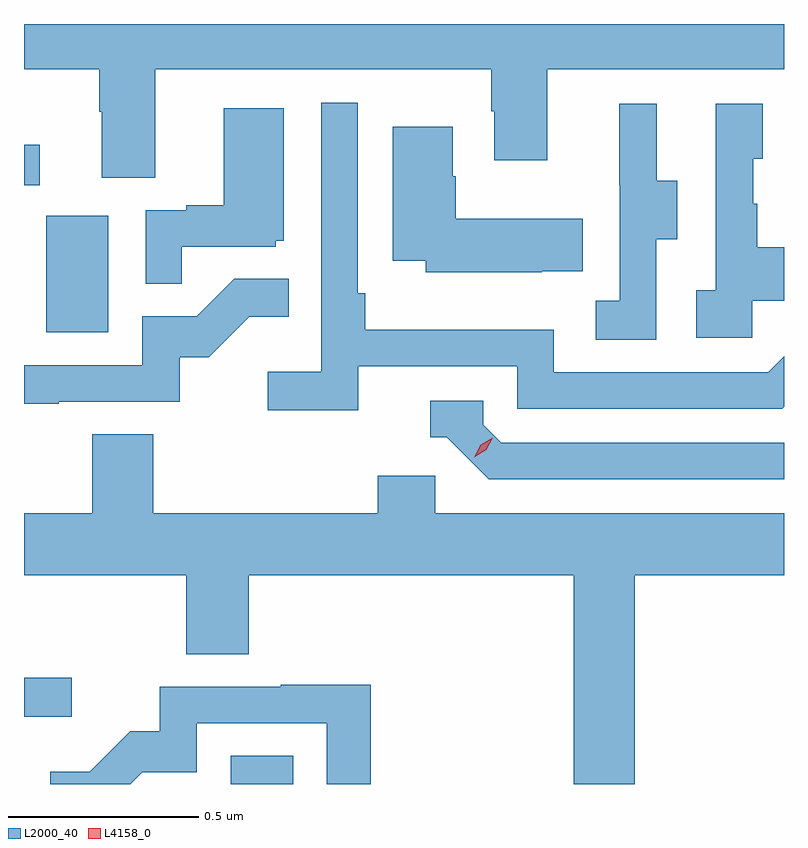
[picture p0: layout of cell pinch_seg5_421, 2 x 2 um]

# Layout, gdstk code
import gdstk
lib = gdstk.Library(unit=1e-6, precision=1e-09)
def R(c, l, rs):  # rectangles x0, y0, x1, y1
    for r in rs: c.add(gdstk.rectangle(r[:2], r[2:], *l))
def P(c, l, *ps):  # polygons
    for p in ps: c.add(gdstk.Polygon(p, *l))
L2000_40 = (2000, 40)
L4158_0 = (4158, 0)

pinch_seg5_421 = lib.new_cell('pinch_seg5_421')
R(pinch_seg5_421, L2000_40, [(998.306,857.543,998.47,857.617), (997.762,857.72,997.888,857.822), (997.82,858.732,997.984,859.039), (997.762,859.119,997.804,859.225)])
P(pinch_seg5_421, L2000_40, [(998.107,859.424),(998.992,859.424),(998.992,859.313),(998.999,859.313),(998.999,859.185),(999.139,859.185),(999.139,859.424),(999.762,859.424),(999.762,859.543),(997.762,859.543),(997.762,859.424),(997.96,859.424),(997.96,859.312),(997.967,859.312),(997.967,859.138),(998.107,859.138)],
  [(998.642,858.642),(999.06,858.642),(999.06,858.531),(999.757,858.531),(999.762,858.536),(999.762,858.669),(999.72,858.627),(999.156,858.627),(999.156,858.739),(998.66,858.739),(998.66,858.835),(998.64,858.835),(998.64,859.336),(998.544,859.336),(998.544,858.628),(998.403,858.628),(998.403,858.526),(998.642,858.526)],
  [(999.426,858.976),(999.481,858.976),(999.481,859.131),(999.427,859.131),(999.427,859.333),(999.329,859.333),(999.329,859.119),(999.33,859.119),(999.33,858.815),(999.267,858.815),(999.267,858.712),(999.426,858.712)],
  [(999.678,858.815),(999.762,858.815),(999.762,858.955),(999.691,858.955),(999.691,859.07),(999.681,859.07),(999.681,859.188),(999.706,859.188),(999.706,859.333),(999.582,859.333),(999.582,858.842),(999.531,858.842),(999.531,858.717),(999.678,858.717)],
  [(998.177,858.957),(998.424,858.957),(998.424,858.972),(998.446,858.972),(998.446,859.321),(998.288,859.321),(998.288,859.066),(998.189,859.066),(998.189,859.053),(998.082,859.053),(998.082,858.859),(998.177,858.859)],
  [(999.125,858.893),(999.233,858.893),(999.233,859.03),(998.898,859.03),(998.898,859.143),(998.89,859.143),(998.89,859.273),(998.732,859.273),(998.732,858.92),(998.819,858.92),(998.819,858.89),(999.125,858.89)],
  [(997.853,858.549),(998.172,858.549),(998.172,858.666),(998.248,858.666),(998.355,858.773),(998.459,858.773),(998.459,858.872),(998.315,858.872),(998.217,858.774),(998.073,858.774),(998.073,858.645),(997.762,858.645),(997.762,858.544),(997.853,858.544)],
  [(999.762,858.441),(999.018,858.441),(998.97,858.489),(998.97,858.552),(998.831,858.552),(998.831,858.456),(998.874,858.456),(998.985,858.345),(999.762,858.345)],
  [(999.369,858.092),(999.762,858.092),(999.762,858.256),(998.844,858.256),(998.844,858.354),(998.693,858.354),(998.693,858.256),(998.102,858.256),(998.102,858.464),(997.942,858.464),(997.942,858.256),(997.762,858.256),(997.762,858.092),(998.189,858.092),(998.189,857.884),(998.354,857.884),(998.354,858.092),(999.209,858.092),(999.209,857.543),(999.369,857.543)],
  [(998.073,857.574),(998.217,857.574),(998.217,857.703),(998.559,857.703),(998.559,857.543),(998.675,857.543),(998.675,857.804),(998.437,857.804),(998.437,857.799),(998.119,857.799),(998.119,857.682),(998.042,857.682),(997.935,857.575),(997.831,857.575),(997.831,857.543),(998.042,857.543)])
P(pinch_seg5_421, L4158_0, [(998.947,858.403),(998.947,858.403),(998.964,858.436),(998.995,858.454),(998.995,858.454),(998.995,858.454),(998.978,858.422),(998.947,858.403)])

lib.write_gds('pinch_seg5_421.gds')
